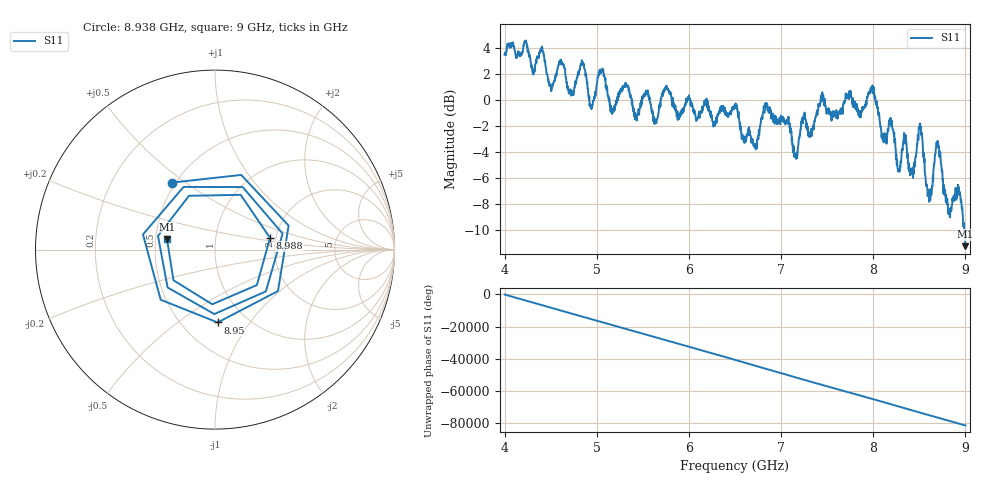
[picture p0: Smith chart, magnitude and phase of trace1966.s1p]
! Created with skrf 1.8.0 (http://scikit-rf.org).
# Hz S RI R 50.0
!freq ReS11 ImS11
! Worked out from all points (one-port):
!   1601 points, 4 GHz to 9 GHz, reference 50 ohm
!   lowest |S11| = -11.2 dB at 9 GHz (marker M1), VSWR 1.76, Z = 28.7 + j3.69 ohm
!   |S11| at or under -10 dB: 8.987505 GHz to end of sweep
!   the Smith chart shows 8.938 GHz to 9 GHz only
!   S11 on the Smith chart (normalised r, x): 8.938 GHz: 0.48, +0.45; 8.95 GHz: 0.74, -0.72; 8.988 GHz: 1.86, +0.27; 9 GHz: 0.57, +0.07
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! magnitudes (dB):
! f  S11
! 4 GHz  3.5
! 4.403 GHz  4.0
! 4.503 GHz  1.0
! 4.625 GHz  2.8
! 4.722 GHz  0.7
! 4.85 GHz  2.9
! 4.941 GHz  -0.4
! 5.047 GHz  2.1
! 5.162 GHz  -0.7
! 5.25 GHz  0.7
! 5.875 GHz  -0.8
! 6.5 GHz  -0.4
! 6.597 GHz  -2.8
! 6.838 GHz  -0.2
! 7.125 GHz  -3.4
! 7.75 GHz  0.2
! 7.988 GHz  1.0
! 8.272 GHz  -5.5
! 8.375 GHz  -4.4
! 8.428 GHz  -5.2
! 8.509 GHz  -1.8
! 8.609 GHz  -7.1
! 8.703 GHz  -3.2
! 8.812 GHz  -8.7
! 8.938 GHz  -7.1
! 8.95 GHz  -7.8
! 8.988 GHz  -10.1
! 9 GHz  -11.2
